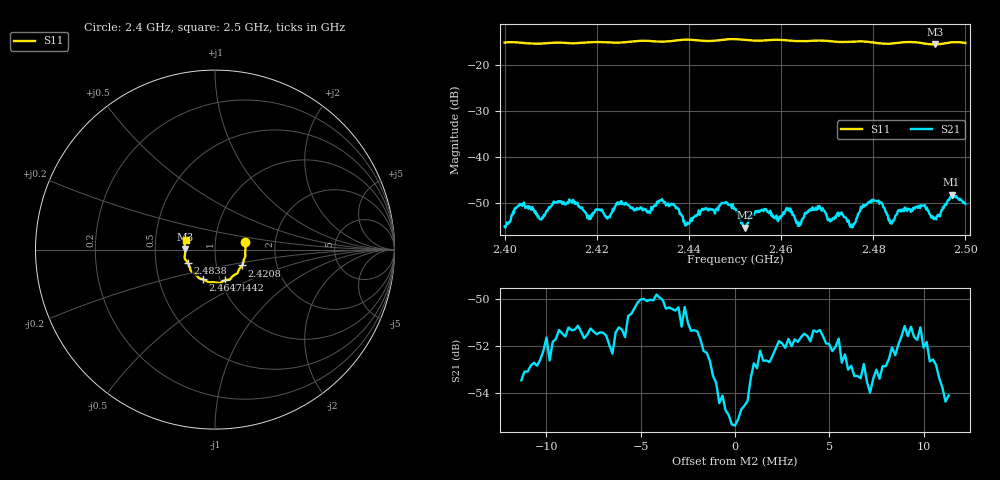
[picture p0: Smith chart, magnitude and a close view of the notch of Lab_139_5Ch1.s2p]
# Hz S RI R 50
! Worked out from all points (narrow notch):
!   601 points, 2.4 GHz to 2.5 GHz, reference 50 ohm
!   highest |S21| = -48.20 dB at 2.497 GHz (marker M1); lowest = -55.4 dB at 2.4522 GHz (marker M2)
!   notch at M2: 3.9 dB deep, 1.9 MHz wide at half that depth
!   lowest |S11| = -15.6 dB at 2.4935 GHz (marker M3), VSWR 1.40, Z = 35.8 + j0.208 ohm
!   |S11| at or under -10 dB: start of sweep to end of sweep
!   S12 and S22 are empty: the file has one direction only
!   S11 on the Smith chart (normalised r, x): 2.4 GHz: 1.40, +0.12; 2.4208 GHz: 1.33, -0.24; 2.4442 GHz: 1.05, -0.37; 2.4647 GHz: 0.83, -0.29; 2.4838 GHz: 0.73, -0.11; 2.5 GHz: 0.72, +0.08
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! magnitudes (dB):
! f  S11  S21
! 2.4 GHz  -15.2  -55.1
! 2.4037 GHz  -15.3  -50.4
! 2.4078 GHz  -15.5  -53.5
! 2.4112 GHz  -15.2  -49.8
! 2.4167 GHz  -15.3  -51.0
! 2.4208 GHz  -15.1  -51.7
! 2.4333 GHz  -15.0  -50.0
! 2.4397 GHz  -14.6  -54.3
! 2.4442 GHz  -14.9  -51.7
! 2.45 GHz  -14.5  -51.3
! 2.4522 GHz  -14.6  -55.4
! 2.4562 GHz  -14.8  -51.8
! 2.4647 GHz  -14.9  -53.5
! 2.4667 GHz  -14.8  -51.5
! 2.4753 GHz  -15.0  -54.7
! 2.4807 GHz  -15.3  -49.6
! 2.4833 GHz  -15.5  -53.8
! 2.4838 GHz  -15.4  -54.0
! 2.4908 GHz  -15.4  -50.6
! 2.4935 GHz  -15.6  -53.4
! 2.497 GHz  -15.2  -48.2
! 2.5 GHz  -15.3  -50.2
